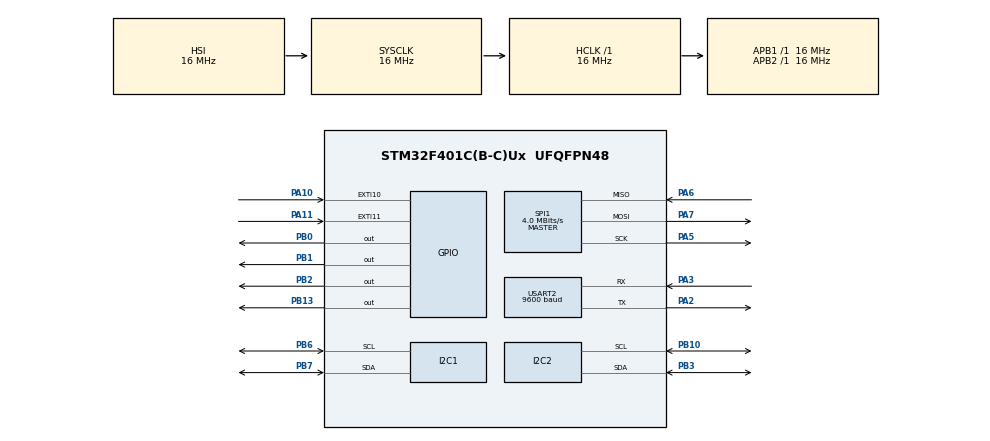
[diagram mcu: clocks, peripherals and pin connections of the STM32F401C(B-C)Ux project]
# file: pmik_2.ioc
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Mcu.Family=STM32F4
Mcu.Name=STM32F401C(B-C)Ux
Mcu.Package=UFQFPN48
NVIC.EXTI15_10_IRQn=true\:0\:0\:false\:false\:true\:true\:true\:true
NVIC.PriorityGroup=NVIC_PRIORITYGROUP_4
NVIC.RTC_WKUP_IRQn=true\:0\:0\:false\:false\:true\:true\:true\:true
NVIC.TIM1_UP_TIM10_IRQn=true\:0\:0\:false\:false\:true\:true\:true\:true
PA10.GPIO_ModeDefaultEXTI=GPIO_MODE_IT_FALLING
PA10.GPIO_PuPd=GPIO_PULLUP
PA10.Signal=GPXTI10
PA11.GPIO_ModeDefaultEXTI=GPIO_MODE_IT_FALLING
PA11.GPIO_PuPd=GPIO_PULLUP
PA11.Signal=GPXTI11
PA2.Mode=Asynchronous
PA2.Signal=USART2_TX
PA3.Mode=Asynchronous
PA3.Signal=USART2_RX
PA5.Mode=Full_Duplex_Master
PA5.Signal=SPI1_SCK
PA6.Mode=Full_Duplex_Master
PA6.Signal=SPI1_MISO
PA7.Mode=Full_Duplex_Master
PA7.Signal=SPI1_MOSI
PB0.Signal=GPIO_Output
PB1.Signal=GPIO_Output
PB10.Mode=I2C
PB10.Signal=I2C2_SCL
PB13.Signal=GPIO_Output
PB2.Signal=GPIO_Output
PB3.Mode=I2C
PB3.Signal=I2C2_SDA
PB6.Mode=I2C
PB6.Signal=I2C1_SCL
PB7.Mode=I2C
PB7.Signal=I2C1_SDA
ProjectManager.HeapSize=0x200
ProjectManager.StackSize=0x400
ProjectManager.TargetToolchain=STM32CubeIDE
RCC.AHBFreq_Value=16000000
RCC.APB1Freq_Value=16000000
RCC.APB2Freq_Value=16000000
RCC.CortexFreq_Value=16000000
RCC.HSE_VALUE=25000000
RCC.HSI_VALUE=16000000
RCC.LSE_VALUE=32768
RCC.SYSCLKFreq_VALUE=16000000
RCC.VCOOutputFreq_Value=192000000
SPI1.BaudRatePrescaler=SPI_BAUDRATEPRESCALER_4
SPI1.CalculateBaudRate=4.0 MBits/s
SPI1.Direction=SPI_DIRECTION_2LINES
SPI1.Mode=SPI_MODE_MASTER
SPI1.VirtualType=VM_MASTER
TIM1.Period=4999
TIM1.Prescaler=15999
USART2.BaudRate=9600
USART2.VirtualMode=VM_ASYNC
VP_FATFS_VS_Generic.Mode=User_defined
VP_RTC_VS_RTC_Activate.Mode=RTC_Enabled
VP_RTC_VS_RTC_WakeUp_intern.Mode=WakeUp
VP_TIM1_VS_ClockSourceINT.Mode=Internal
board=custom

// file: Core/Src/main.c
/* USER CODE BEGIN Header */
/**
  ******************************************************************************
  * @file           : main.c
  * @brief          : Program obslugujacy stacje pogodowa dokonujaca pomiarow
  * 	temperatury, wilgotnosci, cisnienia, naslonecznienia oraz wyswietlajacej te dane
  * 	na wyswietlaczu. Obsluguje takze zegar RTC, z ktorego czas tez jest wyswietlany.
  * 	Program powstaje w ramach przedmiotu PMIK na Politechnice Warszawskiej
  *
  * 	JEST TO WERSJA ROBOCZA, NIE OBSLUGUJE JESZCZE WSZYSTKICH FUNKCJONALNOSCI
  * 		TE BEDA STOPNIOWO DODAWANE
  * @authors		: Artur Skrzypczak, Illia kovalenko
  ******************************************************************************
  * @attention
  *
  * Copyright (c) 2025 STMicroelectronics.
  * All rights reserved.
  *
  * This software is licensed under terms that can be found in the LICENSE file
  * in the root directory of this software component.
  * If no LICENSE file comes with this software, it is provided AS-IS.
  *
  ******************************************************************************
  */
/* USER CODE END Header */
#include "main.h"
#include "fatfs.h"
#include "ff.h"

/* USER CODE BEGIN Includes */
#include "ST7735.h"
#include "GFX_FUNCTIONS.h"

#include <stdio.h> //dla wykorzystania sprintf

#include "bme280.h"
#include "bme280_stm32_hal.h"

#include "bh1750.h"

#include <string.h>
/* USER CODE END Includes */

I2C_HandleTypeDef hi2c1;
I2C_HandleTypeDef hi2c2;

RTC_HandleTypeDef hrtc;

SPI_HandleTypeDef hspi1;

TIM_HandleTypeDef htim1;

UART_HandleTypeDef huart2;

/* USER CODE BEGIN PV */
uint8_t getdata;

RTC_TimeTypeDef sTime; //2 struktury
RTC_DateTypeDef sDate;
char timeBuf[16]; //godzina
char dateBuf[16]; //data

struct bme280_dev bme;
struct bme280_data sensor_data;
uint8_t bme280_addr = BME280_I2C_ADDR_PRIM;  // 0x76

char debugBuf[32];  // Tablica pomocnicza do tworzenia napisów wyświetlanych na ekranie czujnik bh1750

volatile uint8_t setting_state = 0; // do ustawiania zegara
//0 - brak, 1 - godzina, 2 - minuty, 3 - dzien, 4 - miesiąc, 5 - rok

volatile uint32_t last_button1_press = 0;
volatile uint32_t last_button2_press = 0;

FATFS fs;           // system plików
FIL file;           // plik
FRESULT fres;       // status
UINT bytesWritten;
extern char USERPath[4];

/* USER CODE END PV */

void SystemClock_Config(void);
static void MX_GPIO_Init(void);
static void MX_TIM1_Init(void);
static void MX_SPI1_Init(void);
static void MX_RTC_Init(void);
static void MX_I2C1_Init(void);
static void MX_I2C2_Init(void);
static void MX_USART2_UART_Init(void);
/* USER CODE BEGIN PFP */
void BT_SendString(char *str);
/* USER CODE END PFP */

int main(void)
{

  /* MCU Configuration--------------------------------------------------------*/

  /* Reset of all peripherals, Initializes the Flash interface and the Systick. */
  HAL_Init();

  /* Configure the system clock */
  SystemClock_Config();

  /* Initialize all configured peripherals */
  MX_GPIO_Init();
  MX_TIM1_Init();
  MX_SPI1_Init();
  MX_RTC_Init();
  MX_I2C1_Init();
  MX_I2C2_Init();
  MX_USART2_UART_Init();
  MX_FATFS_Init();
  /* USER CODE BEGIN 2 */
  // Uruchomienie przerwań od timera TIM1 (używane do okresowego odświeżania danych)
    HAL_TIM_Base_Start_IT(&htim1);

    // Konfiguracja bieżącego czasu zegara RTC (np. po uruchomieniu mikrokontrolera)
    // Ustawiamy czas: 00:00:00
    sTime.Hours = 0;
    sTime.Minutes = 0;
    sTime.Seconds = 0;
    HAL_RTC_SetTime(&hrtc, &sTime, RTC_FORMAT_BIN);

    // Ustawiamy datę: Poniedziałek, 1 stycznia 2025
    sDate.WeekDay = RTC_WEEKDAY_MONDAY;
    sDate.Month = RTC_MONTH_JANUARY;
    sDate.Date = 1;
    sDate.Year = 25;
    HAL_RTC_SetDate(&hrtc, &sDate, RTC_FORMAT_BIN);

    // Dezaktywacja WakeUp Timer RTC — musi być wykonana przed jego ponowną konfiguracją
    // RTC nie pozwala nadpisać aktywnego timera bez wcześniejszego wyłączenia
    HAL_RTCEx_DeactivateWakeUpTimer(&hrtc);

    // Inicjalizacja wyświetlacza ST7735 i czyszczenie ekranu
    ST7735_Init(0);
    fillScreen(BLACK);

    // Konfiguracja struktury czujnika BME280 (wilgotność, temperatura, ciśnienie)
    bme.intf = BME280_I2C_INTF;
    bme.intf_ptr = &bme280_addr;
    bme.read = user_i2c_read;
    bme.write = user_i2c_write;
    bme.delay_us = user_delay_us;

    // Ustawienie parametrów pomiarowych BME280
    struct bme280_settings settings;
    settings.osr_h = BME280_OVERSAMPLING_1X;
    settings.osr_p = BME280_OVERSAMPLING_1X;
    settings.osr_t = BME280_OVERSAMPLING_1X;
    settings.filter = BME280_FILTER_COEFF_2;
    settings.standby_time = BME280_STANDBY_TIME_1000_MS;

    uint8_t settings_sel = BME280_SEL_OSR_PRESS | BME280_SEL_OSR_TEMP |
                           BME280_SEL_OSR_HUM | BME280_SEL_FILTER;

    if (bme280_init(&bme) != BME280_OK) {
        Error_Handler();
    }
    bme280_set_sensor_settings(settings_sel, &settings, &bme);

    // Ponowna dezaktywacja WakeUp Timer (na wypadek jeśli był jeszcze aktywny)
    HAL_RTCEx_DeactivateWakeUpTimer(&hrtc);

    // Aktywacja WakeUp Timer RTC z przerwaniem — co określony czas wywoła callback
    HAL_RTCEx_SetWakeUpTimer_IT(&hrtc, 4095, RTC_WAKEUPCLOCK_RTCCLK_DIV16);

    // Inicjalizacja czujnika światła BH1750 w trybie ciągłego pomiaru o wysokiej rozdzielczości
    BH1750_Init(&hi2c2, BH1750_CONT_HIGH_RES_MODE);
    char msg[] = "Hello from STM32\n";
    HAL_UART_Transmit(&huart2, (uint8_t*)msg, strlen(msg), HAL_MAX_DELAY);
    HAL_Delay(1000);

    if (FATFS_LinkDriver(&USER_Driver, USERPath) == 0)
    {
    	if (f_mount(&fs, USERPath, 1) == FR_OK)
        {
    		fres = f_open(&file, "log.txt", FA_WRITE | FA_OPEN_ALWAYS);
            if (fres == FR_OK)
                {
                    f_lseek(&file, f_size(&file));  // idź na koniec pliku
                    char logbuf[128];
                    sprintf(logbuf, "Start log: %s %s\r\n", dateBuf, timeBuf);
                    f_write(&file, logbuf, strlen(logbuf), &bytesWritten);
                    f_close(&file);
                }
            }
        }

  /* USER CODE END 2 */

  /* Infinite loop */
  /* USER CODE BEGIN WHILE */
  while (1)
  {
	  if (getdata)
	      {
	          getdata = 0;//zerowanie flagi od tim1

	          // Odczyt danych z BME280
	          bme280_set_sensor_mode(BME280_POWERMODE_FORCED, &bme);
	          /*Tryb FORCED oznacza, ze czujnik sie budzi, aby wykonac jeden pomiar, po czym
	           * przechodzi w stan uspienia SLEEP. W tej wersji wybudzamy go na poczatku petli,
	           * potem idzie spac, co zmniejsza pobor pradu.
	           * Inna mozliwoscia jest zastosowanie trybu NORMAL, w ktorym bme wykonuje pomiary ciagle,
	           * bez przechodzenia w SLEEP. Wowczas: BME280_POWERMODE_NORMAL*/
	          bme.delay_us(2000 * 1000, bme.intf_ptr);//odczekanie, az sie obudzi i zmierzy
	          if (bme280_get_sensor_data(BME280_ALL, &sensor_data, &bme) == BME280_OK) {

	              char buf[32];//tablica pomocnicza do wyswietlania danych

	              //wyswietlanie temperatury
	              sprintf(buf, "%.1f 'C", sensor_data.temperature);
	              //drawString(10, 30, buf, WHITE);
	              ST7735_WriteString(10, 10, buf, Font_16x26, WHITE, BLACK);

	              //wyswietlanie wilgotnosci
	              sprintf(buf, "Hum: %.0f %%", sensor_data.humidity);
	              //fillRect(0, 100, 128, 10, BLACK);
	              // drawString(25, 100, buf, WHITE);
	              ST7735_WriteString(35, 100, buf, Font_7x10, WHITE, BLACK);

	              //wyswietlanie cisnienia
	              sprintf(buf, "Press: %.1f hPa", sensor_data.pressure / 100.0);
	              //fillRect(0, 120, 128, 10, BLACK);
	              //drawString(5, 120, buf, WHITE);
	              ST7735_WriteString(8, 120, buf, Font_7x10, WHITE, BLACK);

	              // ODCZYT DANYCH Z BH1750 – czujnik nasłonecznienia
	              // Tryb ciągły (CONTINUOUS HIGH RES MODE) pozwala odczytywać dane bez każdorazowego inicjalizowania pomiaru.
	              // Jednak ze względu na prostotę i dokładność, w tym przypadku wykonujemy pomiar ręcznie w każdej iteracji.

	              // Uruchomienie nowego pomiaru w trybie ustawionym przy inicjalizacji
	              BH1750_StartMeasurement();

	              // Odczekanie 180 ms – tyle potrzebuje czujnik BH1750 na wykonanie pomiaru
	              HAL_Delay(180);

	              // Odbiór 2 bajtów danych – surowa wartość nasłonecznienia
	              uint8_t data[2];
	              uint16_t lux;

	              // Odczyt danych z czujnika (adres BH1750 to 0x23 przesunięte w lewo o 1 bit = 0x46)
	              HAL_I2C_Master_Receive(&hi2c2, 0x46, data, 2, 100);

	              // Przetwarzanie danych – łączenie dwóch bajtów w jedną wartość 16-bitową (w luxach)
	              lux = (data[0] << 8) | data[1];

	              // Wyświetlenie zaktualizowaną wartość natężenia światła
	              sprintf(debugBuf, "Lux: %4u lx", lux);
	              ST7735_WriteString(25, 150, debugBuf, Font_7x10, WHITE, BLACK);

	              // Wysłanie danych pomiarowych przez Bluetooth (temperatura, wilgotność, ciśnienie, nasłonecznienie)
	              // Ciśnienie jest przeliczane z Pa na hPa (czyli podzielone przez 100)
	              char btBuf[64];
	              sprintf(btBuf, "Temp: %.1f C, Hum: %.0f%%, Press: %.1f hPa, Lux: %u\r\n",
	                      sensor_data.temperature,
	                      sensor_data.humidity,
	                      sensor_data.pressure / 100.0,
	                      lux);

	              BT_SendString(btBuf);  // Przesłanie przez UART2 do modułu HC-05 (Bluetooth)

	              // Zapisz do SD
	              if (f_open(&file, "log.txt", FA_WRITE | FA_OPEN_ALWAYS) == FR_OK)
	              {
	                  f_lseek(&file, f_size(&file)); // do końca
	                  char logbuf[128];
	                  sprintf(logbuf, "%02d:%02d:%02d %02d-%02d-%02d - %s",
	                          sTime.Hours, sTime.Minutes, sTime.Seconds,
	                          sDate.Date, sDate.Month, 2000 + sDate.Year,
	                          btBuf);
	                  f_write(&file, logbuf, strlen(logbuf), &bytesWritten);
	                  f_close(&file);
	              }

	          }
	      }

    /* USER CODE END WHILE */

  }
}

void SystemClock_Config(void)
{
  RCC_OscInitTypeDef RCC_OscInitStruct = {0};
  RCC_ClkInitTypeDef RCC_ClkInitStruct = {0};

  /** Configure the main internal regulator output voltage
  */
  __HAL_RCC_PWR_CLK_ENABLE();
  __HAL_PWR_VOLTAGESCALING_CONFIG(PWR_REGULATOR_VOLTAGE_SCALE2);

  /** Initializes the RCC Oscillators according to the specified parameters
  * in the RCC_OscInitTypeDef structure.
  */
  RCC_OscInitStruct.OscillatorType = RCC_OSCILLATORTYPE_HSI|RCC_OSCILLATORTYPE_LSI;
  RCC_OscInitStruct.HSIState = RCC_HSI_ON;
  RCC_OscInitStruct.HSICalibrationValue = RCC_HSICALIBRATION_DEFAULT;
  RCC_OscInitStruct.LSIState = RCC_LSI_ON;
  RCC_OscInitStruct.PLL.PLLState = RCC_PLL_NONE;
  if (HAL_RCC_OscConfig(&RCC_OscInitStruct) != HAL_OK)
  {
    Error_Handler();
  }

  /** Initializes the CPU, AHB and APB buses clocks
  */
  RCC_ClkInitStruct.ClockType = RCC_CLOCKTYPE_HCLK|RCC_CLOCKTYPE_SYSCLK
                              |RCC_CLOCKTYPE_PCLK1|RCC_CLOCKTYPE_PCLK2;
  RCC_ClkInitStruct.SYSCLKSource = RCC_SYSCLKSOURCE_HSI;
  RCC_ClkInitStruct.AHBCLKDivider = RCC_SYSCLK_DIV1;
  RCC_ClkInitStruct.APB1CLKDivider = RCC_HCLK_DIV1;
  RCC_ClkInitStruct.APB2CLKDivider = RCC_HCLK_DIV1;

  if (HAL_RCC_ClockConfig(&RCC_ClkInitStruct, FLASH_LATENCY_0) != HAL_OK)
  {
    Error_Handler();
  }
}

static void MX_I2C1_Init(void)
{

  hi2c1.Instance = I2C1;
  hi2c1.Init.ClockSpeed = 100000;
  hi2c1.Init.DutyCycle = I2C_DUTYCYCLE_2;
  hi2c1.Init.OwnAddress1 = 0;
  hi2c1.Init.AddressingMode = I2C_ADDRESSINGMODE_7BIT;
  hi2c1.Init.DualAddressMode = I2C_DUALADDRESS_DISABLE;
  hi2c1.Init.OwnAddress2 = 0;
  hi2c1.Init.GeneralCallMode = I2C_GENERALCALL_DISABLE;
  hi2c1.Init.NoStretchMode = I2C_NOSTRETCH_DISABLE;
  if (HAL_I2C_Init(&hi2c1) != HAL_OK)
  {
    Error_Handler();
  }

}

static void MX_I2C2_Init(void)
{

  hi2c2.Instance = I2C2;
  hi2c2.Init.ClockSpeed = 100000;
  hi2c2.Init.DutyCycle = I2C_DUTYCYCLE_2;
  hi2c2.Init.OwnAddress1 = 0;
  hi2c2.Init.AddressingMode = I2C_ADDRESSINGMODE_7BIT;
  hi2c2.Init.DualAddressMode = I2C_DUALADDRESS_DISABLE;
  hi2c2.Init.OwnAddress2 = 0;
  hi2c2.Init.GeneralCallMode = I2C_GENERALCALL_DISABLE;
  hi2c2.Init.NoStretchMode = I2C_NOSTRETCH_DISABLE;
  if (HAL_I2C_Init(&hi2c2) != HAL_OK)
  {
    Error_Handler();
  }

}

static void MX_RTC_Init(void)
{

  RTC_TimeTypeDef sTime = {0};
  RTC_DateTypeDef sDate = {0};

  /** Initialize RTC Only
  */
  hrtc.Instance = RTC;
  hrtc.Init.HourFormat = RTC_HOURFORMAT_24;
  hrtc.Init.AsynchPrediv = 127;
  hrtc.Init.SynchPrediv = 255;
  hrtc.Init.OutPut = RTC_OUTPUT_DISABLE;
  hrtc.Init.OutPutPolarity = RTC_OUTPUT_POLARITY_HIGH;
  hrtc.Init.OutPutType = RTC_OUTPUT_TYPE_OPENDRAIN;
  if (HAL_RTC_Init(&hrtc) != HAL_OK)
  {
    Error_Handler();
  }

  /** Initialize RTC and set the Time and Date
  */
  sTime.Hours = 0x0;
  sTime.Minutes = 0x0;
  sTime.Seconds = 0x0;
  sTime.DayLightSaving = RTC_DAYLIGHTSAVING_NONE;
  sTime.StoreOperation = RTC_STOREOPERATION_RESET;
  if (HAL_RTC_SetTime(&hrtc, &sTime, RTC_FORMAT_BCD) != HAL_OK)
  {
    Error_Handler();
  }
  sDate.WeekDay = RTC_WEEKDAY_MONDAY;
  sDate.Month = RTC_MONTH_JANUARY;
  sDate.Date = 0x1;
  sDate.Year = 0x0;

  if (HAL_RTC_SetDate(&hrtc, &sDate, RTC_FORMAT_BCD) != HAL_OK)
  {
    Error_Handler();
  }

  /** Enable the WakeUp
  */
  if (HAL_RTCEx_SetWakeUpTimer_IT(&hrtc, 0, RTC_WAKEUPCLOCK_RTCCLK_DIV16) != HAL_OK)
  {
    Error_Handler();
  }

}

static void MX_SPI1_Init(void)
{

  /* SPI1 parameter configuration*/
  hspi1.Instance = SPI1;
  hspi1.Init.Mode = SPI_MODE_MASTER;
  hspi1.Init.Direction = SPI_DIRECTION_2LINES;
  hspi1.Init.DataSize = SPI_DATASIZE_8BIT;
  hspi1.Init.CLKPolarity = SPI_POLARITY_LOW;
  hspi1.Init.CLKPhase = SPI_PHASE_1EDGE;
  hspi1.Init.NSS = SPI_NSS_SOFT;
  hspi1.Init.BaudRatePrescaler = SPI_BAUDRATEPRESCALER_4;
  hspi1.Init.FirstBit = SPI_FIRSTBIT_MSB;
  hspi1.Init.TIMode = SPI_TIMODE_DISABLE;
  hspi1.Init.CRCCalculation = SPI_CRCCALCULATION_DISABLE;
  hspi1.Init.CRCPolynomial = 10;
  if (HAL_SPI_Init(&hspi1) != HAL_OK)
  {
    Error_Handler();
  }

}

static void MX_TIM1_Init(void)
{

  TIM_ClockConfigTypeDef sClockSourceConfig = {0};
  TIM_MasterConfigTypeDef sMasterConfig = {0};

  htim1.Instance = TIM1;
  htim1.Init.Prescaler = 15999;
  htim1.Init.CounterMode = TIM_COUNTERMODE_UP;
  htim1.Init.Period = 4999;
  htim1.Init.ClockDivision = TIM_CLOCKDIVISION_DIV1;
  htim1.Init.RepetitionCounter = 0;
  htim1.Init.AutoReloadPreload = TIM_AUTORELOAD_PRELOAD_DISABLE;
  if (HAL_TIM_Base_Init(&htim1) != HAL_OK)
  {
    Error_Handler();
  }
  sClockSourceConfig.ClockSource = TIM_CLOCKSOURCE_INTERNAL;
  if (HAL_TIM_ConfigClockSource(&htim1, &sClockSourceConfig) != HAL_OK)
  {
    Error_Handler();
  }
  sMasterConfig.MasterOutputTrigger = TIM_TRGO_RESET;
  sMasterConfig.MasterSlaveMode = TIM_MASTERSLAVEMODE_DISABLE;
  if (HAL_TIMEx_MasterConfigSynchronization(&htim1, &sMasterConfig) != HAL_OK)
  {
    Error_Handler();
  }

}

static void MX_USART2_UART_Init(void)
{

  huart2.Instance = USART2;
  huart2.Init.BaudRate = 9600;
  huart2.Init.WordLength = UART_WORDLENGTH_8B;
  huart2.Init.StopBits = UART_STOPBITS_1;
  huart2.Init.Parity = UART_PARITY_NONE;
  huart2.Init.Mode = UART_MODE_TX_RX;
  huart2.Init.HwFlowCtl = UART_HWCONTROL_NONE;
  huart2.Init.OverSampling = UART_OVERSAMPLING_16;
  if (HAL_UART_Init(&huart2) != HAL_OK)
  {
    Error_Handler();
  }

}

static void MX_GPIO_Init(void)
{
  GPIO_InitTypeDef GPIO_InitStruct = {0};

  /* GPIO Ports Clock Enable */
  __HAL_RCC_GPIOA_CLK_ENABLE();
  __HAL_RCC_GPIOB_CLK_ENABLE();

  /*Configure GPIO pin Output Level */
  HAL_GPIO_WritePin(GPIOB, GPIO_PIN_0|GPIO_PIN_1|GPIO_PIN_2|GPIO_PIN_13, GPIO_PIN_RESET);

  /*Configure GPIO pins : PB0 PB1 PB2 PB13 */
  GPIO_InitStruct.Pin = GPIO_PIN_0|GPIO_PIN_1|GPIO_PIN_2|GPIO_PIN_13;
  GPIO_InitStruct.Mode = GPIO_MODE_OUTPUT_PP;
  GPIO_InitStruct.Pull = GPIO_NOPULL;
  GPIO_InitStruct.Speed = GPIO_SPEED_FREQ_LOW;
  HAL_GPIO_Init(GPIOB, &GPIO_InitStruct);

  /*Configure GPIO pins : PA10 PA11 */
  GPIO_InitStruct.Pin = GPIO_PIN_10|GPIO_PIN_11;
  GPIO_InitStruct.Mode = GPIO_MODE_IT_FALLING;
  GPIO_InitStruct.Pull = GPIO_PULLUP;
  HAL_GPIO_Init(GPIOA, &GPIO_InitStruct);

  /* EXTI interrupt init*/
  HAL_NVIC_SetPriority(EXTI15_10_IRQn, 0, 0);
  HAL_NVIC_EnableIRQ(EXTI15_10_IRQn);

}

/* USER CODE BEGIN 4 */
void HAL_TIM_PeriodElapsedCallback(TIM_HandleTypeDef *htim)
{
	if (htim == &htim1) {
		getdata = 1;//flaga, po ktorej nastepuje pobranie wynikow i ich wyswietlanie
	}
}

/**
  * @brief  Funkcja wysyłająca ciąg znaków przez moduł Bluetooth (UART2 -> HC-05)
  * @param  str: wskaźnik do ciągu znaków (null-terminated)
  * @retval brak
  *
  * Funkcja korzysta z biblioteki HAL i wysyła dane przez UART2 z maksymalnym czasem oczekiwania.
  * W projekcie UART2 połączony jest z modułem HC-05 (Bluetooth), więc tekst trafia do komputera/terminala.
  */
void BT_SendString(char *str) {
    HAL_UART_Transmit(&huart2, (uint8_t*)str, strlen(str), HAL_MAX_DELAY);
}

void HAL_RTCEx_WakeUpTimerEventCallback(RTC_HandleTypeDef *hrtc)
{
	HAL_RTC_GetTime(hrtc, &sTime, RTC_FORMAT_BIN);
	HAL_RTC_GetDate(hrtc, &sDate, RTC_FORMAT_BIN);
	sprintf(timeBuf, "%02d:%02d", sTime.Hours, sTime.Minutes);
	sprintf(dateBuf, "%02d:%02d:%02d", sDate.Date, sDate.Month, sDate.Year);
    //wyswietlanie godziny i daty
    ST7735_WriteString(45, 40, timeBuf, Font_7x10, WHITE, BLACK);
    ST7735_WriteString(35, 60, dateBuf, Font_7x10, WHITE, BLACK);
}

void HAL_GPIO_EXTI_Callback(uint16_t GPIO_Pin)
{
    uint32_t tick = HAL_GetTick();
    RTC_TimeTypeDef sTime;
    RTC_DateTypeDef sDate;

    if(GPIO_Pin == GPIO_PIN_10) // Zmiana trybu ustawiania
    {
        if(tick - last_button1_press > 200)
        {
            setting_state = (setting_state + 1) % 6; // 0..5
            last_button1_press = tick;
        }
    }
    else if(GPIO_Pin == GPIO_PIN_11) // Inkrementacja wartości
    {
        if(tick - last_button2_press > 200)
        {
            HAL_RTC_GetTime(&hrtc, &sTime, RTC_FORMAT_BIN);
            HAL_RTC_GetDate(&hrtc, &sDate, RTC_FORMAT_BIN);

            switch(setting_state)
            {
                case 1: // Godzina
                    sTime.Hours = (sTime.Hours + 1) % 24;
                    break;
                case 2: // Minuty
                    sTime.Minutes = (sTime.Minutes + 1) % 60;
                    break;
                case 3: // Dzień
                    sDate.Date = (sDate.Date % 31) + 1;
                    break;
                case 4: // Miesiąc
                    sDate.Month = (sDate.Month % 12) + 1;
                    break;
                case 5: // Rok
                    sDate.Year = (sDate.Year + 1) % 100; // 00 - 99
                    break;
                default:
                    break;
            }

            // Ustaw RTC
            HAL_RTC_SetTime(&hrtc, &sTime, RTC_FORMAT_BIN);
            HAL_RTC_SetDate(&hrtc, &sDate, RTC_FORMAT_BIN);
        	sprintf(timeBuf, "%02d:%02d", sTime.Hours, sTime.Minutes);
        	sprintf(dateBuf, "%02d:%02d:%02d", sDate.Date, sDate.Month, sDate.Year);

            ST7735_WriteString(45, 40, timeBuf, Font_7x10, WHITE, BLACK);
            ST7735_WriteString(35, 60, dateBuf, Font_7x10, WHITE, BLACK);

            last_button2_press = tick;
        }
    }
}

/* USER CODE END 4 */

void Error_Handler(void)
{
  __disable_irq();
  while (1)
  {
  }
}
